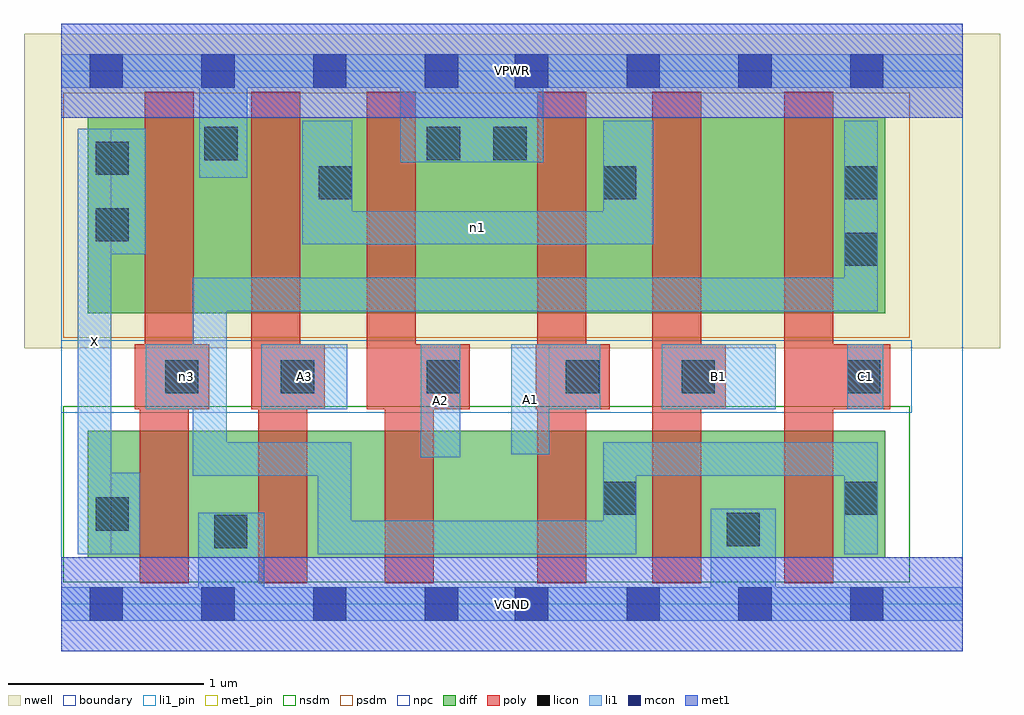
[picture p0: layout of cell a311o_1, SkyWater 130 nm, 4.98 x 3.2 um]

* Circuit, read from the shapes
.subckt a311o_1 A1 A2 A3 B1 C1 VGND VPWR X n1 n3
XM1 VGND n3 X VSUBS sky130_fd_pr__nfet_01v8 w=0.65 l=0.25
XM2 n2 A3 VGND VSUBS sky130_fd_pr__nfet_01v8 w=0.65 l=0.25
XM3 n4 A2 n2 VSUBS sky130_fd_pr__nfet_01v8 w=0.65 l=0.25
XM4 n3 A1 n4 VSUBS sky130_fd_pr__nfet_01v8 w=0.65 l=0.25
XM5 VGND B1 n3 VSUBS sky130_fd_pr__nfet_01v8 w=0.65 l=0.25
XM6 n3 C1 VGND VSUBS sky130_fd_pr__nfet_01v8 w=0.65 l=0.25
XM7 VPWR n3 X n5 sky130_fd_pr__pfet_01v8 w=1 l=0.25
XM8 n1 A3 VPWR n5 sky130_fd_pr__pfet_01v8 w=1 l=0.25
XM9 VPWR A2 n1 n5 sky130_fd_pr__pfet_01v8 w=1 l=0.25
XM10 n1 A1 VPWR n5 sky130_fd_pr__pfet_01v8 w=1 l=0.25
XM11 n6 B1 n1 n5 sky130_fd_pr__pfet_01v8 w=1 l=0.25
XM12 n3 C1 n6 n5 sky130_fd_pr__pfet_01v8 w=1 l=0.25
.ends

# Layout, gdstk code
import gdstk
lib = gdstk.Library(unit=1e-6, precision=1e-09)
def R(c, l, rs):  # rectangles x0, y0, x1, y1
    for r in rs: c.add(gdstk.rectangle(r[:2], r[2:], *l))
def A(c, l, x, y, w, h, nx, ny, dx, dy):  # array of equal rectangles
    R(c, l, [(x+i*dx, y+j*dy, x+i*dx+w, y+j*dy+h) for i in range(nx) for j in range(ny)])
nwell = (64, 20)
diff = (65, 20)
poly = (66, 20)
licon = (66, 44)
li1_pin = (67, 16)
li1 = (67, 20)
mcon = (67, 44)
met1_pin = (68, 16)
met1 = (68, 20)
nsdm = (93, 44)
psdm = (94, 20)
npc = (95, 20)
boundary = (235, 4)

a311o_1 = lib.new_cell('a311o_1')
R(a311o_1, nwell, [(-0.19,1.305,4.79,2.91), (0,1.305,4.6,2.91)])
R(a311o_1, diff, [(0.135,0.235,4.205,0.885), (0.135,1.485,4.205,2.485)])
R(a311o_1, poly, [(0.4,0.105,0.65,1.325), (1.005,0.105,1.255,1.325), (1.65,0.105,1.9,1.325), (2.43,0.105,2.68,2.615), (3.015,0.105,3.265,2.615), (3.69,0.105,3.94,2.615), (0.375,0.995,0.755,1.325), (0.425,0.995,0.675,2.615), (0.97,0.995,1.22,2.615), (0.97,0.995,1.345,1.325), (1.56,0.995,1.81,2.615), (1.56,0.995,2.085,1.325), (2.42,0.995,2.8,1.325), (3.015,0.995,3.39,1.325), (3.69,0.995,4.23,1.325)])
R(a311o_1, licon, [(0.78,0.285,0.95,0.455), (3.395,0.295,3.565,0.465), (0.175,0.375,0.345,0.545), (2.765,0.455,2.935,0.625), (3.995,0.455,4.165,0.625), (0.53,1.075,0.7,1.245), (1.12,1.075,1.29,1.245), (1.865,1.075,2.035,1.245), (2.575,1.075,2.745,1.245), (3.165,1.075,3.335,1.245), (4.01,1.075,4.18,1.245), (3.995,1.725,4.165,1.895), (0.175,1.85,0.345,2.02), (1.315,2.065,1.485,2.235), (2.765,2.065,2.935,2.235), (3.995,2.065,4.165,2.235), (0.175,2.19,0.345,2.36), (0.73,2.265,0.9,2.435), (1.865,2.265,2.035,2.435), (2.205,2.265,2.375,2.435)])
R(a311o_1, li1_pin, [(0.085,0.255,0.255,2.425), (1.835,0.75,2.035,1.325), (2.295,0.765,2.49,1.325), (1.02,0.995,1.46,1.325), (3.065,0.995,3.645,1.325), (4.01,0.995,4.195,1.325)])
R(a311o_1, li1, [(0,-0.085,4.6,0.085), (0.7,-0.085,1.035,0.465), (3.315,-0.085,3.645,0.485), (0.085,0.255,0.255,2.425), (0.085,0.255,0.4,0.67), (1.31,0.255,2.935,0.425), (1.31,0.255,1.48,0.825), (2.765,0.255,2.935,0.825), (3.995,0.255,4.165,0.825), (0.67,0.655,0.845,1.665), (0.67,0.655,1.48,0.825), (2.765,0.655,4.165,0.825), (1.835,0.75,2.035,1.325), (2.295,0.765,2.49,1.325), (0.43,0.995,0.845,1.325), (1.02,0.995,1.46,1.325), (2.295,0.995,2.75,1.325), (3.065,0.995,3.645,1.325), (4.01,0.995,4.195,1.325), (0.67,1.495,4.165,1.665), (3.995,1.495,4.165,2.465), (0.085,1.785,0.43,2.425), (1.23,1.835,3.02,2.005), (1.23,1.835,1.485,2.465), (2.765,1.835,3.02,2.465), (0.705,2.175,0.95,2.805), (1.73,2.255,2.46,2.805), (0,2.635,4.6,2.805)])
A(a311o_1, mcon, 0.145, -0.085, 0.17, 0.17, 4, 2, 0.57, 2.72)
A(a311o_1, mcon, 2.315, -0.085, 0.17, 0.17, 4, 2, 0.57, 2.72)
R(a311o_1, met1_pin, [(0,-0.24,4.6,0.24), (0,2.48,4.6,2.96)])
R(a311o_1, met1, [(0,-0.24,4.6,0.24), (0,2.48,4.6,2.96)])
R(a311o_1, nsdm, [(0.01,0.11,4.33,1.01)])
R(a311o_1, psdm, [(0.01,1.36,4.33,2.61)])
R(a311o_1, npc, [(0,0.975,4.34,1.345)])
R(a311o_1, boundary, [(0,0,4.6,2.72)])
a311o_1.add(gdstk.Label('A1', (2.392,1.045), layer=67, texttype=5))
a311o_1.add(gdstk.Label('A2', (1.935,1.037), layer=67, texttype=5))
a311o_1.add(gdstk.Label('A3', (1.24,1.16), layer=67, texttype=5))
a311o_1.add(gdstk.Label('B1', (3.355,1.16), layer=67, texttype=5))
a311o_1.add(gdstk.Label('C1', (4.102,1.16), layer=67, texttype=5))
a311o_1.add(gdstk.Label('X', (0.17,1.34), layer=67, texttype=5))
a311o_1.add(gdstk.Label('n1', (2.125,1.92), layer=67, texttype=5))
a311o_1.add(gdstk.Label('n3', (0.637,1.16), layer=67, texttype=5))
a311o_1.add(gdstk.Label('VPWR', (2.3,2.72), layer=68, texttype=5))
a311o_1.add(gdstk.Label('VGND', (2.3,0), layer=68, texttype=5))
a311o_1.add(gdstk.Label('A1', (2.392,1.045), layer=67, texttype=16))
a311o_1.add(gdstk.Label('A2', (1.935,1.037), layer=67, texttype=16))
a311o_1.add(gdstk.Label('A3', (1.24,1.16), layer=67, texttype=16))
a311o_1.add(gdstk.Label('B1', (3.355,1.16), layer=67, texttype=16))
a311o_1.add(gdstk.Label('C1', (4.102,1.16), layer=67, texttype=16))
a311o_1.add(gdstk.Label('X', (0.17,1.34), layer=67, texttype=16))
a311o_1.add(gdstk.Label('VPWR', (2.3,2.72), layer=68, texttype=16))
a311o_1.add(gdstk.Label('VGND', (2.3,0), layer=68, texttype=16))

lib.write_gds('a311o_1.gds')
